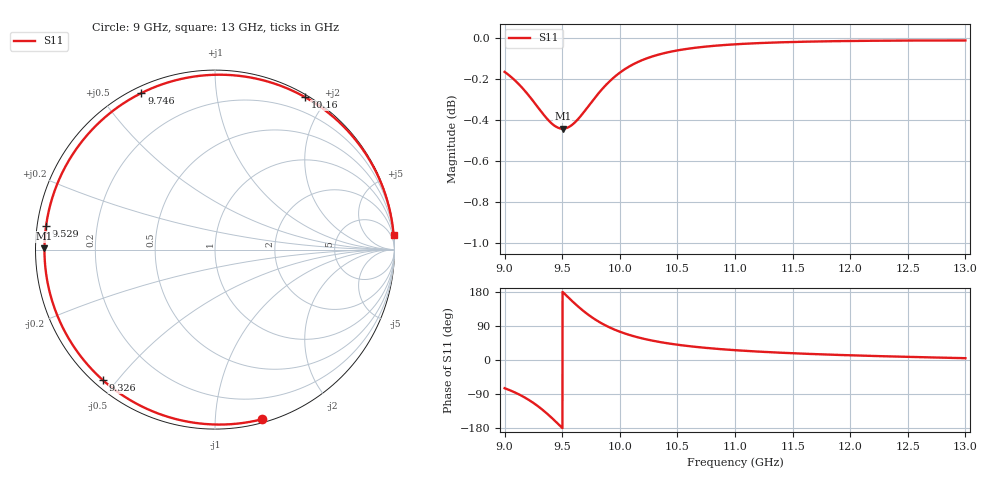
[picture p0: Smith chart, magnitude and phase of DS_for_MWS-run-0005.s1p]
! TOUCHSTONE file generated by CST DESIGN STUDIO
! Date and time: Tue Feb  4 13:59:15 2025
! Project name: C:\Work\MatlabApps\UnitCellOptimizationMatlab\CST\unitcell.cst
! Tree item: Tasks\Sweep1\SPara1\S-Parameters
! Header version: 2024
! Port assignment regex: !\s*Touchstone port\s*([0-9]+)\s*=\s*(CST MWS port|CST DES external port|CST DES block port)\s*(.+)\s* \(\"(.*)\"\)(\s*mode\s*([0-9]+))?.*
! Touchstone port assignment:
! Touchstone port 1 = CST DES external port 1 ("")
# GHz S MA R 50
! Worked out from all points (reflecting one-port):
!   4001 points, 9 GHz to 13 GHz, reference 50 ohm
!   lowest |S11| = -0.4 dB at 9.504 GHz (marker M1), VSWR 39.22, Z = 1.27 + j0.166 ohm
!   phase of S11 starts at -74 deg and turns -281 deg over the sweep
!   S11 on the Smith chart (normalised r, x): 9 GHz: 0.03, -1.32; 9.326 GHz: 0.03, -0.46; 9.529 GHz: 0.03, +0.07; 9.746 GHz: 0.03, +0.63; 10.16 GHz: 0.03, +1.75; 13 GHz: 0, +24
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9  0.981 -74.4
9.086  0.9765 -85.1
9.188  0.9697 -101.3
9.26  0.9641 -115.4
9.326  0.9587 -130.6
9.372  0.9553 -142.4
9.421  0.9524 -156.0
9.461  0.9509 -167.6
9.5  0.9503 -179.2
9.504  0.9503 179.6
9.529  0.9505 172.2
9.582  0.9521 156.7
9.642  0.9557 140.1
9.693  0.9595 127.2
9.746  0.9638 115.1
9.798  0.968 104.7
9.855  0.9722 94.6
9.927  0.9767 83.8
10  0.9805 74.7
10.161  0.9865 59.5
10.315  0.9901 49.2
10.5  0.9928 40.3
10.722  0.9948 32.7
11  0.9962 25.9
11.5  0.9975 17.8
12  0.9981 12.4
12.5  0.9983 8.3
13  0.9984 4.8
